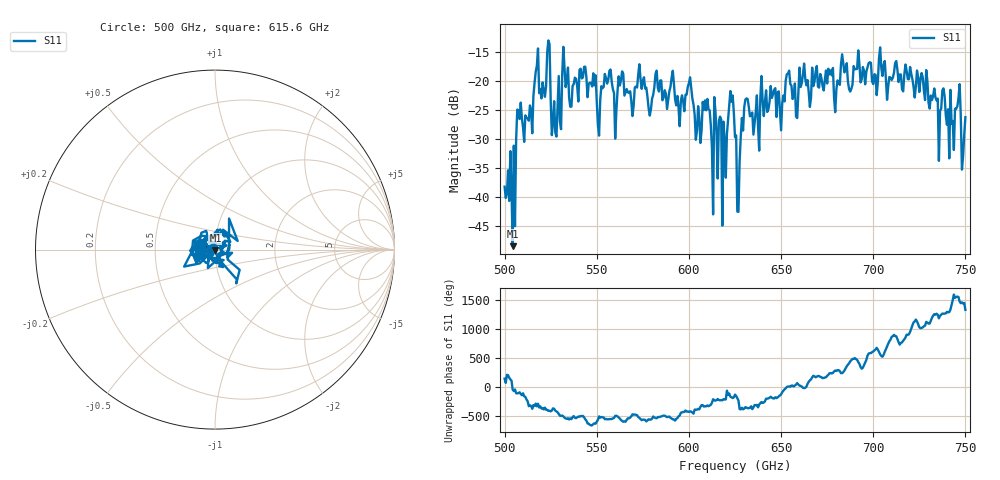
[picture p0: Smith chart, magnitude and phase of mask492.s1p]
!Created with skrf (http://scikit-rf.org).
# GHz S MA R 50.0
!freq magS11 angS11
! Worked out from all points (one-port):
!   401 points, 500 GHz to 750 GHz, reference 50 ohm
!   lowest |S11| = -48.4 dB at 504.4 GHz (marker M1), VSWR 1.01, Z = 50.2 - j0.294 ohm
!   |S11| at or under -10 dB: start of sweep to end of sweep
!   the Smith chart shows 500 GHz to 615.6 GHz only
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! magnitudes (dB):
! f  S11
! 500 GHz  -38.2
! 504.4 GHz  -48.4
! 507.5 GHz  -25.1
! 513.8 GHz  -24.2
! 516.9 GHz  -18.4
! 521.2 GHz  -21.6
! 523.8 GHz  -13.0
! 526.9 GHz  -23.5
! 531.2 GHz  -18.9
! 542.5 GHz  -19.4
! 551.2 GHz  -29.4
! 562.5 GHz  -20.8
! 578.8 GHz  -26.0
! 590.6 GHz  -19.4
! 593.8 GHz  -22.6
! 610 GHz  -23.1
! 611.9 GHz  -27.6
! 619.4 GHz  -30.2
! 623.1 GHz  -23.6
! 625 GHz  -29.7
! 626.9 GHz  -42.5
! 631.2 GHz  -23.0
! 656.2 GHz  -23.1
! 680 GHz  -21.5
! 684.4 GHz  -18.5
! 687.5 GHz  -21.8
! 718.8 GHz  -19.7
! 750 GHz  -26.3
